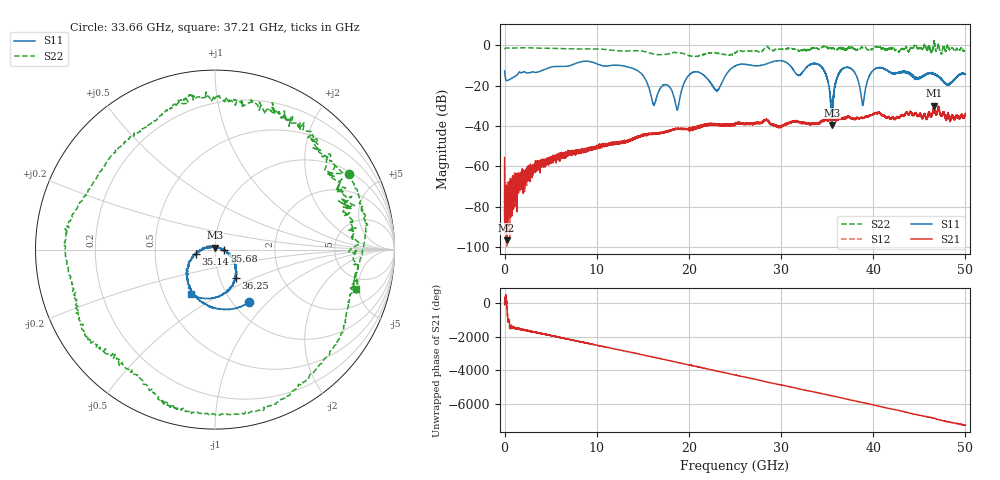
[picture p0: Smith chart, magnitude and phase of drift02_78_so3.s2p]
!Created with skrf (http://scikit-rf.org).
# Hz S RI R 50.0
!freq ReS11 ImS11 ReS21 ImS21 ReS12 ImS12 ReS22 ImS22
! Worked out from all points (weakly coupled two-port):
!   10001 points, 300 kHz to 50 GHz, reference 50 ohm
!   highest |S21| = -29.98 dB at 46.59 GHz (marker M1); lowest = -96.6 dB at 210.3 MHz (marker M2)
!   lowest |S11| = -39.5 dB at 35.5 GHz (marker M3), VSWR 1.02, Z = 49.8 + j1.04 ohm
!   |S11| at or under -10 dB: start of sweep to 7.179 GHz; 12.35 GHz to 25.16 GHz (12.81 GHz wide, 68.3 % of centre); 34.22 GHz to end of sweep (the widest 3 of 16)
!   |S22| runs from -5.7 to 2.3 dB; largest |S21 - S12| = 0.0032
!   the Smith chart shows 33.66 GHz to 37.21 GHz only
!   S11 on the Smith chart (normalised r, x): 33.66 GHz: 1.19, -0.79; 35.14 GHz: 0.81, -0.04; 35.68 GHz: 1.11, -0.01; 36.25 GHz: 1.19, -0.40; 37.21 GHz: 0.69, -0.37
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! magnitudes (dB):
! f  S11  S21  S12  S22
! 300 kHz  -12.8  -55.6  -59.6  -2.1
! 210.3 MHz  -17.6  -96.6  -69.3  -1.4
! 8.335 GHz  -8.2  -52.5  -52.1  -1.9
! 14.03 GHz  -11.8  -46.0  -46.5  -2.8
! 16.67 GHz  -23.4  -43.7  -43.6  -4.7
! 17.71 GHz  -19.9  -43.0  -42.6  -4.3
! 18.74 GHz  -32.0  -41.5  -41.5  -3.7
! 20.24 GHz  -13.9  -41.3  -41.4  -5.4
! 23.04 GHz  -22.6  -39.5  -39.7  -4.1
! 25 GHz  -10.3  -39.5  -39.5  -3.9
! 33.34 GHz  -9.3  -39.2  -38.6  -1.6
! 33.66 GHz  -9.1  -38.6  -38.6  -1.3
! 35.14 GHz  -19.3  -37.3  -37.3  -1.8
! 35.5 GHz  -39.5  -37.0  -36.7  -1.8
! 35.68 GHz  -25.7  -36.7  -36.9  -1.5
! 36.25 GHz  -14.1  -36.6  -36.6  -1.8
! 37.21 GHz  -11.0  -35.3  -35.4  -1.8
! 38.86 GHz  -29.8  -35.9  -36.0  -1.4
! 39.95 GHz  -12.7  -34.5  -34.6  -2.0
! 41.67 GHz  -13.0  -35.7  -35.5  -1.9
! 46.59 GHz  -14.1  -30.0  -30.3  2.1
! 50 GHz  -14.5  -33.8  -34.0  -2.7
